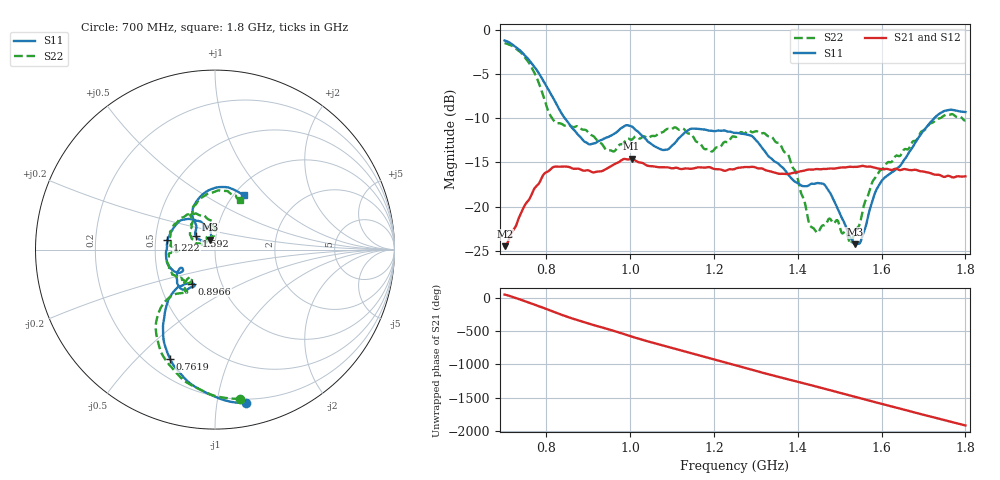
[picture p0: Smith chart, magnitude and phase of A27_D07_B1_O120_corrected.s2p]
! Created with skrf 1.9.0 (http://scikit-rf.org).
# Hz S RI R 50.0
!freq ReS11 ImS11 ReS21 ImS21 ReS12 ImS12 ReS22 ImS22
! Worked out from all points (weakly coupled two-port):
!   1601 points, 700 MHz to 1.8 GHz, reference 50 ohm
!   highest |S21| = -14.57 dB at 1.003 GHz (marker M1); lowest = -24.5 dB at 700.7 MHz (marker M2)
!   lowest |S11| = -24.3 dB at 1.536 GHz (marker M3), VSWR 1.13, Z = 47.1 + j5.21 ohm
!   |S11| at or under -10 dB: 843.9 MHz to 1.725 GHz (881.5 MHz wide, 68.6 % of centre)
!   |S22| runs from -24.2 to -1.5 dB; largest |S21 - S12| = 0.0035
!   S11 on the Smith chart (normalised r, x): 700 MHz: 0.17, -1.21; 761.9 MHz: 0.29, -0.63; 896.6 MHz: 0.72, -0.29; 1.222 GHz: 0.58, +0.07; 1.592 GHz: 0.80, +0.12; 1.8 GHz: 1.11, +0.76
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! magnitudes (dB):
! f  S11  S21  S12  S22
! 700 MHz  -1.2  -24.5  -24.3  -1.5
! 700.7 MHz  -1.2  -24.5  -24.2  -1.5
! 761.9 MHz  -3.6  -18.9  -18.8  -4.0
! 816.9 MHz  -7.8  -15.5  -15.6  -10.2
! 883.6 MHz  -12.3  -15.8  -15.7  -11.2
! 896.6 MHz  -12.8  -15.9  -16.0  -11.4
! 957.1 MHz  -11.9  -15.3  -15.3  -13.7
! 1.003 GHz  -10.9  -14.6  -14.7  -12.4
! 1.067 GHz  -13.4  -15.5  -15.5  -11.7
! 1.222 GHz  -11.4  -15.9  -15.9  -12.8
! 1.25 GHz  -11.7  -15.7  -15.7  -12.1
! 1.357 GHz  -15.3  -16.3  -16.2  -12.9
! 1.395 GHz  -17.2  -16.1  -16.1  -16.1
! 1.434 GHz  -17.4  -15.8  -15.8  -22.3
! 1.469 GHz  -17.9  -15.7  -15.7  -21.8
! 1.525 GHz  -23.4  -15.5  -15.5  -24.2
! 1.536 GHz  -24.3  -15.5  -15.5  -22.9
! 1.552 GHz  -23.7  -15.4  -15.4  -21.2
! 1.592 GHz  -17.7  -15.7  -15.7  -16.2
! 1.617 GHz  -16.4  -15.8  -15.7  -14.9
! 1.733 GHz  -9.6  -16.4  -16.4  -10.1
! 1.8 GHz  -9.3  -16.6  -16.6  -10.2
